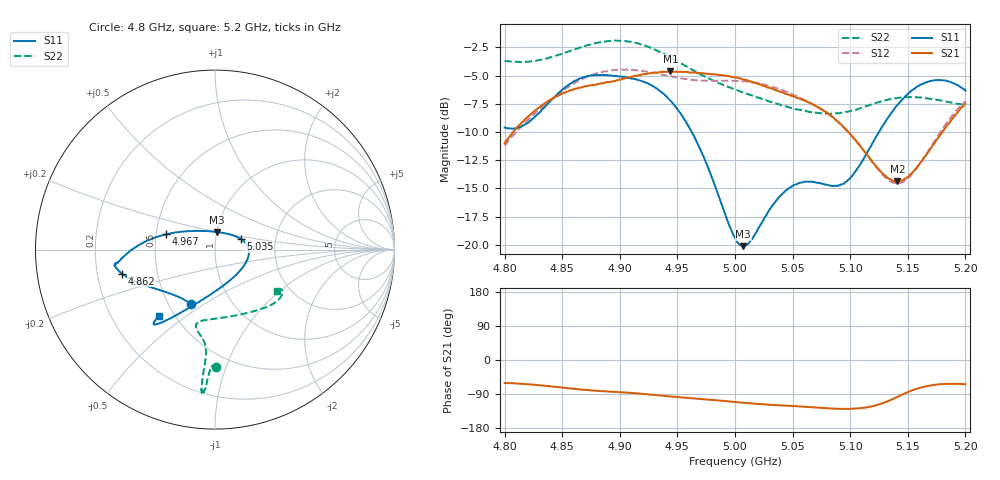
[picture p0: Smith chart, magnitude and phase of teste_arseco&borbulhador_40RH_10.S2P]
! Network Analyzer HP8722D
! Hewlett-Packard
! Data name: Linha & Wilkinson
! Saver's name: Rodrigo Anjos
! Comments: Teste da utilização de aquisição
! continua pelo VNA HP8722D
! Time and date: 15/4/2025 16:26
!  Frequency  S11  S21  S12  S22
# HZ  S  MA R 50
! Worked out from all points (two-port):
!   401 points, 4.8 GHz to 5.2 GHz, reference 50 ohm
!   highest |S21| = -4.62 dB at 4.944 GHz (marker M1); lowest = -14.4 dB at 5.141 GHz (marker M2)
!   |S21| within 3 dB of the highest: 4.833 GHz to 5.069 GHz (236.4 MHz wide, 4.78 % of centre); 5.198684 GHz to end of sweep
!   lowest |S11| = -20.1 dB at 5.007 GHz (marker M3), VSWR 1.22, Z = 50.1 + j9.91 ohm
!   |S11| at or under -10 dB: 4.962 GHz to 5.125 GHz (162.5 MHz wide, 3.22 % of centre)
!   |S22| runs from -8.4 to -1.9 dB; largest |S21 - S12| = 0.88
!   S11 on the Smith chart (normalised r, x): 4.8 GHz: 0.65, -0.44; 4.862 GHz: 0.31, -0.11; 4.967 GHz: 0.57, +0.11; 5.035 GHz: 1.32, +0.16; 5.2 GHz: 0.41, -0.40
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4.8e9  0.3309 -113.7  0.2815 -60.9  0.2748 -175.1  0.6531 -89.4
4.819e9  0.3447 -133.5  0.3647 -63.7  0.3524 -173.3  0.6482 -91.1
4.862e9  0.5355 -165.6  0.4925 -76.5  0.5258 -176.3  0.7396 -93.4
4.867e9  0.5493 -167.6  0.4995 -78.1  0.5417 -177.3  0.7541 -93.7
4.898e9  0.5589 -172.1  0.5373 -84.5  0.595 176.2  0.8035 -95.0
4.934e9  0.4848 -177.9  0.5817 -93.3  0.5732 172.0  0.7191 -95.6
4.944e9  0.4354 177.6  0.5874 -96.1  0.5583 171.9  0.6782 -95.3
4.967e9  0.2847 162.5  0.578 -102.1  0.5359 174.1  0.5827 -94.8
5e9  0.1074 107.4  0.5515 -111.0  0.5335 176.5  0.4874 -99.2
5.007e9  0.09848 83.6  0.5414 -112.7  0.5297 176.3  0.4729 -100.8
5.014e9  0.1046 61.4  0.5285 -114.6  0.5254 176.3  0.4607 -102.4
5.035e9  0.1549 23.0  0.4855 -118.9  0.4968 175.2  0.4237 -103.9
5.05e9  0.1823 7.1  0.4565 -121.6  0.4643 174.6  0.4036 -100.3
5.067e9  0.1902 -11.2  0.4209 -124.8  0.4215 174.0  0.3871 -91.9
5.087e9  0.1824 -43.7  0.3592 -128.6  0.3584 173.8  0.3822 -77.1
5.097e9  0.1906 -64.7  0.3217 -129.1  0.3207 174.5  0.3882 -68.6
5.134e9  0.3733 -116.0  0.196 -106.9  0.192 -159.8  0.4414 -43.4
5.141e9  0.4167 -119.9  0.1908 -97.1  0.1874 -148.8  0.4476 -40.2
5.153e9  0.4812 -124.9  0.2066 -81.0  0.2038 -130.2  0.4514 -35.9
5.17e9  0.5328 -128.5  0.2675 -66.9  0.2723 -113.0  0.4439 -32.0
5.184e9  0.5319 -129.8  0.3381 -63.1  0.3487 -107.2  0.431 -31.1
5.2e9  0.4829 -130.3  0.4224 -63.9  0.434 -106.0  0.4154 -33.4
